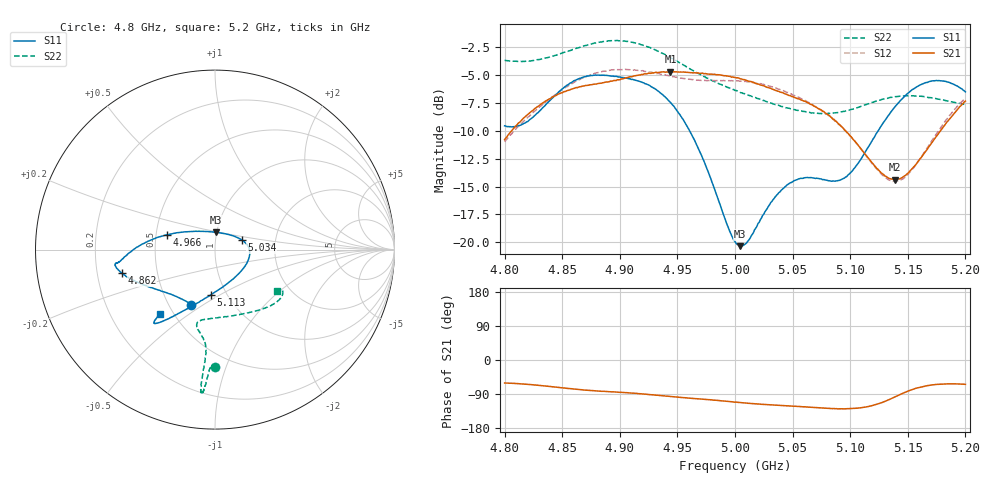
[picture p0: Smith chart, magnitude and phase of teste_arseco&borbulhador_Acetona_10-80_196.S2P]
! Network Analyzer HP8722D
! Hewlett-Packard
! Data name: Linha & Wilkinson
! Saver's name: Rodrigo Anjos
! Comments: Teste da utilização de aquisição
! continua pelo VNA HP8722D
! Time and date: 17/4/2025 15:59
!  Frequency  S11  S21  S12  S22
# HZ  S  MA R 50
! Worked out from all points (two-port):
!   401 points, 4.8 GHz to 5.2 GHz, reference 50 ohm
!   highest |S21| = -4.68 dB at 4.944 GHz (marker M1); lowest = -14.4 dB at 5.139 GHz (marker M2)
!   |S21| within 3 dB of the highest: 4.831 GHz to 5.067 GHz (236.7 MHz wide, 4.78 % of centre); 5.196576 GHz to end of sweep
!   lowest |S11| = -20.3 dB at 5.004 GHz (marker M3), VSWR 1.21, Z = 49.6 + j9.6 ohm
!   |S11| at or under -10 dB: 4.961 GHz to 5.124 GHz (163.6 MHz wide, 3.24 % of centre)
!   |S22| runs from -8.5 to -1.9 dB; largest |S21 - S12| = 0.87
!   S11 on the Smith chart (normalised r, x): 4.8 GHz: 0.65, -0.45; 4.862 GHz: 0.31, -0.11; 4.966 GHz: 0.57, +0.10; 5.034 GHz: 1.34, +0.15; 5.113 GHz: 0.84, -0.45; 5.2 GHz: 0.42, -0.39
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4.8e9  0.3334 -113.3  0.2888 -60.7  0.2825 -175.0  0.6558 -89.9
4.819e9  0.3471 -133.4  0.3705 -64.1  0.3591 -173.6  0.6511 -91.6
4.862e9  0.5355 -165.8  0.495 -77.1  0.5294 -176.9  0.7417 -93.8
4.867e9  0.5487 -167.7  0.5013 -78.5  0.5447 -177.9  0.7563 -94.1
4.899e9  0.5522 -172.2  0.5361 -85.2  0.5954 175.7  0.8027 -95.3
4.934e9  0.4743 -178.2  0.5789 -93.5  0.5721 171.8  0.7166 -95.7
4.944e9  0.4243 177.3  0.5833 -96.3  0.5563 171.9  0.6734 -95.6
4.966e9  0.279 162.8  0.5757 -102.0  0.5352 173.6  0.5802 -95.0
5e9  0.1009 101.4  0.5495 -111.3  0.5309 176.1  0.4804 -99.1
5.004e9  0.09612 87.1  0.5433 -112.0  0.5295 176.2  0.4727 -100.1
5.012e9  0.1024 61.0  0.5281 -114.2  0.5246 176.0  0.4563 -101.7
5.034e9  0.1576 20.5  0.4835 -119.1  0.4949 174.9  0.4165 -103.6
5.05e9  0.1871 4.3  0.4508 -122.0  0.4586 174.1  0.3962 -99.4
5.067e9  0.1949 -14.0  0.4139 -125.0  0.416 173.6  0.3812 -90.7
5.093e9  0.1925 -58.3  0.3288 -128.7  0.3281 174.1  0.3855 -70.6
5.113e9  0.2536 -95.5  0.2486 -124.2  0.2483 -179.9  0.4142 -54.9
5.134e9  0.3756 -116.5  0.1933 -104.2  0.19 -157.0  0.4458 -43.0
5.139e9  0.4068 -119.5  0.1911 -97.2  0.1878 -149.2  0.4505 -40.8
5.151e9  0.4707 -124.5  0.2063 -81.1  0.2042 -130.9  0.4552 -36.4
5.17e9  0.5283 -128.9  0.2759 -66.2  0.2816 -112.4  0.4459 -32.0
5.185e9  0.5236 -130.3  0.3509 -63.1  0.3633 -107.1  0.4309 -31.1
5.2e9  0.4737 -130.5  0.4304 -64.3  0.4429 -106.4  0.415 -33.3
